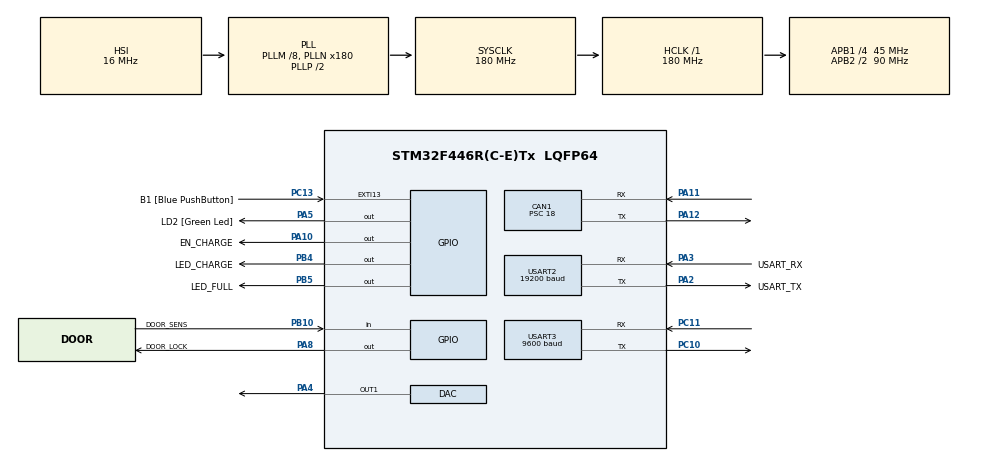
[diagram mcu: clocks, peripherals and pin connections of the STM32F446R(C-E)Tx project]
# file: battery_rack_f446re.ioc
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CAN1.BS1=CAN_BS1_2TQ
CAN1.BS2=CAN_BS2_2TQ
CAN1.CalculateBaudRate=500000
CAN1.CalculateTimeBit=2000
CAN1.CalculateTimeQuantum=400.0
CAN1.Prescaler=18
CAN1.RFLM=DISABLE
Mcu.Family=STM32F4
Mcu.Name=STM32F446R(C-E)Tx
Mcu.Package=LQFP64
NVIC.CAN1_RX0_IRQn=true\:0\:0\:true\:false\:true\:true\:true\:true
NVIC.EXTI15_10_IRQn=true\:0\:0\:false\:false\:true\:true\:true\:true
NVIC.PriorityGroup=NVIC_PRIORITYGROUP_0
NVIC.TIM7_IRQn=true\:0\:0\:false\:false\:true\:true\:true\:true
NVIC.USART2_IRQn=true\:0\:0\:false\:false\:true\:true\:true\:true
NVIC.USART3_IRQn=true\:0\:0\:false\:false\:true\:true\:true\:true
PA10.GPIO_Label=EN_CHARGE
PA10.Signal=GPIO_Output
PA11.Mode=CAN_Activate
PA11.Signal=CAN1_RX
PA12.Mode=CAN_Activate
PA12.Signal=CAN1_TX
PA13.GPIO_Label=TMS
PA13.Mode=Serial_Wire
PA13.Signal=SYS_JTMS-SWDIO
PA14.GPIO_Label=TCK
PA14.Mode=Serial_Wire
PA14.Signal=SYS_JTCK-SWCLK
PA2.GPIO_Label=USART_TX
PA2.Mode=Asynchronous
PA2.Signal=USART2_TX
PA3.GPIO_Label=USART_RX
PA3.Mode=Asynchronous
PA3.Signal=USART2_RX
PA4.Signal=COMP_DAC1_group
PA5.GPIO_Label=LD2 [Green Led]
PA5.Signal=GPIO_Output
PA8.GPIO_Label=DOOR_LOCK
PA8.GPIO_PuPd=GPIO_PULLUP
PA8.Signal=GPIO_Output
PB10.GPIO_Label=DOOR_SENS
PB10.GPIO_PuPd=GPIO_PULLUP
PB10.Signal=GPIO_Input
PB3.GPIO_Label=SWO
PB3.Signal=SYS_JTDO-SWO
PB4.GPIO_Label=LED_CHARGE
PB4.Signal=GPIO_Output
PB5.GPIO_Label=LED_FULL
PB5.Signal=GPIO_Output
PC10.Mode=Asynchronous
PC10.Signal=USART3_TX
PC11.Mode=Asynchronous
PC11.Signal=USART3_RX
PC13.GPIO_Label=B1 [Blue PushButton]
PC13.GPIO_ModeDefaultEXTI=GPIO_MODE_IT_FALLING
PC13.Signal=GPXTI13
PC14-OSC32_IN.Mode=LSE-External-Oscillator
PC14-OSC32_IN.Signal=RCC_OSC32_IN
PC15-OSC32_OUT.Mode=LSE-External-Oscillator
PC15-OSC32_OUT.Signal=RCC_OSC32_OUT
PH0-OSC_IN.Mode=HSE-External-Oscillator
PH0-OSC_IN.Signal=RCC_OSC_IN
PH1-OSC_OUT.Mode=HSE-External-Oscillator
PH1-OSC_OUT.Signal=RCC_OSC_OUT
ProjectManager.HeapSize=0x200
ProjectManager.StackSize=0x400
ProjectManager.TargetToolchain=STM32CubeIDE
RCC.48MHZClocksFreq_Value=84000000
RCC.AHBFreq_Value=180000000
RCC.APB1CLKDivider=RCC_HCLK_DIV4
RCC.APB1Freq_Value=45000000
RCC.APB1TimFreq_Value=90000000
RCC.APB2CLKDivider=RCC_HCLK_DIV2
RCC.APB2Freq_Value=90000000
RCC.APB2TimFreq_Value=180000000
RCC.CortexFreq_Value=180000000
RCC.FLatency-AdvancedSettings=FLASH_LATENCY_5
RCC.HCLKFreq_Value=180000000
RCC.HSE_VALUE=8000000
RCC.HSI_VALUE=16000000
RCC.PLLM=8
RCC.PLLN=180
RCC.SYSCLKFreq_VALUE=180000000
RCC.SYSCLKSource=RCC_SYSCLKSOURCE_PLLCLK
RCC.USBFreq_Value=180000000
RCC.VCOOutputFreq_Value=360000000
SH.COMP_DAC1_group.0=DAC_OUT1,DAC_OUT1
TIM7.Period=50-1
TIM7.Prescaler=64-1
USART2.BaudRate=19200
USART2.VirtualMode=VM_ASYNC
USART3.BaudRate=9600
USART3.VirtualMode=VM_ASYNC
VP_TIM7_VS_ClockSourceINT.Mode=Enable_Timer
board=NUCLEO-F446RE

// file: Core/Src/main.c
/* USER CODE BEGIN Header */
/**
 ******************************************************************************
 *@file           : main.c
 *@brief          : Main program body
 ******************************************************************************
 *@attention
 *
 *Copyright (c) 2023 STMicroelectronics.
 *All rights reserved.
 *
 *This software is licensed under terms that can be found in the LICENSE file
 *in the root directory of this software component.
 *If no LICENSE file comes with this software, it is provided AS-IS.
 *
 ******************************************************************************
 */
/* USER CODE END Header */
#include "main.h"
#include "can.h"
#include "dac.h"
#include "tim.h"
#include "usart.h"
#include "gpio.h"

void SystemClock_Config(void);
/* USER CODE BEGIN PFP */
#include <stdio.h>
#include <string.h>
#include <stdbool.h>

#ifdef __GNUC__
#define PUTCHAR_PROTOTYPE int __io_putchar(int ch)
#else
#define PUTCHAR_PROTOTYPE int fputc(int ch, FILE *f)
#endif

PUTCHAR_PROTOTYPE
{
    HAL_UART_Transmit(&huart2, (uint8_t*) &ch, 1, HAL_MAX_DELAY);
    return ch;
}

/* USER CODE END PFP */

/* USER CODE BEGIN 0 */

#include <stdbool.h>

CAN_RxHeaderTypeDef RxHeader;
uint8_t RxData[8];

int battery_current, battery_voltage, battery_temperature, battery_capacity, battery_id1, battery_id2, cell_number, battery_percent, battery_voltage_cells_total;
uint16_t battcells[12];
uint8_t charge_status;
bool charging_flag = false;

float dac_charge_value = 80;

#define FULLCHARGE 25600
uint8_t battery_timeout = 0;

bool can_tx_error_flag = false;
bool acquired = false;

void enableBattery()
{
    CAN_TxHeaderTypeDef TxHeader;
    uint32_t TxMailbox;

    TxHeader.DLC = 8;
    TxHeader.IDE = CAN_ID_STD;
    TxHeader.RTR = CAN_RTR_DATA;
    TxHeader.TransmitGlobalTime = DISABLE;
    TxHeader.StdId = 0x456;
    uint8_t TxData[] = {0xAA, 0x01, 0x4E, 0x69, 0x44, 0x61, 0x59, 0x65};

    if (HAL_CAN_AddTxMessage(&hcan1, &TxHeader, TxData, &TxMailbox) != HAL_OK)
    {
        can_tx_error_flag = true;
        HAL_CAN_Stop(&hcan1);
        HAL_CAN_ResetError(&hcan1);
       	// HAL_CAN_MspDeInit(&hcan1);
       	// HAL_CAN_DeInit(&hcan1);
       	// HAL_CAN_MspInit(&hcan1);
        MX_CAN1_Init();
    }
    else can_tx_error_flag = false;
}

void HAL_GPIO_EXTI_Callback(uint16_t GPIO_Pin)
{
    if (GPIO_Pin == GPIO_PIN_13) {
        battery_id1 = 0;
        battery_id2 = 0;
        battery_current = 0;
        battery_voltage = 0;
        battery_capacity = 0;
        charge_status = 0;
        battery_temperature = 0;
        charging_flag = false;
        memset(battcells, 0, sizeof(battcells));
        enableBattery();
    }
}

void HAL_CAN_RxFifo0MsgPendingCallback(CAN_HandleTypeDef *hcan)
{
    HAL_CAN_GetRxMessage(hcan, CAN_RX_FIFO0, &RxHeader, RxData);

   	// printf("id: %ld | ", RxHeader.StdId);
   	// printf("data: %X %X %X %X %X %X %X %X\n", RxData[0], RxData[1], RxData[2], RxData[3], RxData[4], RxData[5], RxData[6], RxData[7]);

    if (RxHeader.StdId >= 0x200 && RxHeader.StdId <= 0x210)
    	acquired = true;
}

#include "../../modbus/mb.h"
#include "../../modbus/mbport.h"

enum
{
    HREG_BATTERY_ID1,
	HREG_BATTERY_ID2,
    HREG_BATTERY_CURRENT,
    HREG_BATTERY_VOLTAGE,
    HREG_BATTERY_CAPACITY,
	HREG_BATTERY_PERCENT,
    HREG_CHARGE_STATUS,
	HREG_BATTERY_TEMPERATURE,
    HREG_CELL_VOLTAGE_1,
    HREG_CELL_VOLTAGE_2,
    HREG_CELL_VOLTAGE_3,
    HREG_CELL_VOLTAGE_4,
    HREG_CELL_VOLTAGE_5,
    HREG_CELL_VOLTAGE_6,
    HREG_CELL_VOLTAGE_7,
    HREG_CELL_VOLTAGE_8,
    HREG_CELL_VOLTAGE_9,
    HREG_CELL_VOLTAGE_10,
    HREG_CELL_VOLTAGE_11,
    HREG_CELL_VOLTAGE_12,
    HREG_DOOR_STATUS,
    HREG_DOOR_OPEN,
	HREG_DAC_VALUE,
    HREG_FINAL_ENTRY
} holdingRegs_t;

#define REG_HOLDING_START 1
#define REG_HOLDING_NREGS HREG_FINAL_ENTRY
static USHORT usRegHoldingStart = REG_HOLDING_START;
static USHORT usRegHoldingBuf[REG_HOLDING_NREGS];

uint32_t millis()
{
    return HAL_GetTick();
}

int map(int x, int in_min, int in_max, int out_min, int out_max) {
    if (x < in_min) return out_min;
    if (x > in_max) return out_max;
    return (x - in_min) * (out_max - out_min + 1) / (in_max - in_min + 1) + out_min;
}

void parsing_can_data()
{
    if (RxHeader.StdId == 0x200)
    {
        battery_capacity = (RxData[0] << 8) | (RxData[1]);
        if (battery_capacity < FULLCHARGE) {
        	// charging_flag = true;
        }
        else {
        	// charging_flag = false;
        }
    }
    else if (RxHeader.StdId == 0x201)
    {
        battery_current = (RxData[0] << 8) | (RxData[1]);
        battery_voltage = ((RxData[4] << 8) | (RxData[5]));
    }
    else if (RxHeader.StdId == 0x202)
    {
        cell_number = RxData[0];
        charge_status = RxData[5];
        battcells[cell_number] = ((RxData[1] << 8) | (RxData[2]));
    }
    else if (RxHeader.StdId == 0x209)
    {
        battery_temperature = ((RxData[1] << 8) | (RxData[2]));
    }
    else if (RxHeader.StdId == 0x210)
    {
       	// enableBattery();
    	// battery_id = ((RxData[0] << 24) | (RxData[1] << 16) | (RxData[2] << 8) | (RxData[3]));
        battery_id1 = ((RxData[0] << 8) | (RxData[1]));
    	battery_id2 = ((RxData[2] << 8) | (RxData[3]));
    }
}

int update_dac_ticks;
int update_dac = 0;

void dac_compare() {
    if(millis() - update_dac_ticks >= 100) {
        update_dac_ticks = millis();
        if(update_dac < dac_charge_value) {
            update_dac += 1;
            HAL_DAC_SetValue(&hdac, DAC_CHANNEL_1, DAC_ALIGN_12B_R, ((update_dac * 0.01) * 4096.0) / 3.3);
        } else if (update_dac >= dac_charge_value) {
            update_dac = dac_charge_value;
            HAL_DAC_SetValue(&hdac, DAC_CHANNEL_1, DAC_ALIGN_12B_R, ((dac_charge_value * 0.01) * 4096.0) / 3.3);
        }
    }
}

/* USER CODE END 0 */

int main(void)
{

  /* MCU Configuration--------------------------------------------------------*/

  /* Reset of all peripherals, Initializes the Flash interface and the Systick. */
  HAL_Init();

  /* Configure the system clock */
  SystemClock_Config();

  /* Initialize all configured peripherals */
  MX_GPIO_Init();
  MX_USART2_UART_Init();
  MX_CAN1_Init();
  MX_DAC_Init();
  MX_TIM7_Init();
  MX_USART3_UART_Init();
  /* USER CODE BEGIN 2 */

   	// // init
   	// printf("%s\n", "can start");

   	// close door
    HAL_GPIO_WritePin(DOOR_LOCK_GPIO_Port, DOOR_LOCK_Pin, 0);

    HAL_DAC_Start(&hdac, DAC_CHANNEL_1);

    HAL_GPIO_WritePin(EN_CHARGE_GPIO_Port, EN_CHARGE_Pin, 0);
    HAL_DAC_SetValue(&hdac, DAC_CHANNEL_1, DAC_ALIGN_12B_R, 0);

    eMBInit(MB_RTU, 11, 3, huart2.Init.BaudRate, MB_PAR_NONE);
    eMBEnable();

    uint32_t ticks, ticks2;
  /* USER CODE END 2 */

  /* Infinite loop */
  /* USER CODE BEGIN WHILE */
    while (1)
    {

        if (millis() - ticks2 >= 50) {
            ticks2 = millis();
           	// printf("%d %d %d %d %d %d\n", battery_id, battery_current,  battery_voltage, battery_capacity, charge_status, cell_voltage);

            if (HAL_GPIO_ReadPin(DOOR_SENS_GPIO_Port, DOOR_SENS_Pin) == 1 && battery_percent < 100) {
            	HAL_GPIO_WritePin(EN_CHARGE_GPIO_Port, EN_CHARGE_Pin, 1);
                if (charging_flag) dac_compare();
            } else {
            	HAL_GPIO_WritePin(EN_CHARGE_GPIO_Port, EN_CHARGE_Pin, 0);
            	if (!charging_flag) {
                    HAL_DAC_SetValue(&hdac, DAC_CHANNEL_1, DAC_ALIGN_12B_R, 0);
                    update_dac = 0;
                }
            }

            if (battery_percent >= 100 && battery_timeout < 10) {
                charging_flag = false;
                HAL_GPIO_WritePin(LED_CHARGE_GPIO_Port, LED_CHARGE_Pin, 0);
                HAL_GPIO_WritePin(LED_FULL_GPIO_Port, LED_FULL_Pin, 1);
            } else if (battery_percent > 98 && battery_timeout < 10) {
            	HAL_GPIO_WritePin(LED_CHARGE_GPIO_Port, LED_CHARGE_Pin, 0);
            	HAL_GPIO_WritePin(LED_FULL_GPIO_Port, LED_FULL_Pin, 1);
            } else if (battery_percent <= 98 && battery_timeout < 10) {
                charging_flag = true;
                HAL_GPIO_WritePin(LED_CHARGE_GPIO_Port, LED_CHARGE_Pin, 1);
                HAL_GPIO_WritePin(LED_FULL_GPIO_Port, LED_FULL_Pin, 0);
            } else {
            	update_dac = 0;
                HAL_GPIO_WritePin(LED_CHARGE_GPIO_Port, LED_CHARGE_Pin, 0);
                HAL_GPIO_WritePin(LED_FULL_GPIO_Port, LED_FULL_Pin, 0);
            }

        }

        if (acquired) {
            acquired = false;
            battery_timeout = 0;
            HAL_GPIO_TogglePin(GPIOA, GPIO_PIN_5);
            parsing_can_data();
            battery_voltage_cells_total = (battcells[0] + battcells[1] + battcells[2] + battcells[3] + battcells[4] + battcells[5] + battcells[6] + battcells[7] + battcells[8] + battcells[9] + battcells[10] + battcells[11]);
            battery_percent = map(battery_voltage_cells_total, 35600, 49600, 0, 100);
        }

        if (millis() - ticks >= (can_tx_error_flag ? 100 : 500)) {
            ticks = millis();
            enableBattery();
            battery_timeout++;
            if (battery_timeout >= 10) {
                battery_timeout = 10;
                battery_id1 = 0;
                battery_id2 = 0;
                battery_current = 0;
                battery_voltage = 0;
                battery_capacity = 0;
                charge_status = 0;
                battery_temperature = 0;
                battery_voltage_cells_total = 0;
                battery_percent = 0;
                charging_flag = false;
                memset(battcells, 0, sizeof(battcells));
            }
        }

        eMBPoll();
    /* USER CODE END WHILE */

    }
}

void SystemClock_Config(void)
{
  RCC_OscInitTypeDef RCC_OscInitStruct = {0};
  RCC_ClkInitTypeDef RCC_ClkInitStruct = {0};

  /** Configure the main internal regulator output voltage
  */
  __HAL_RCC_PWR_CLK_ENABLE();
  __HAL_PWR_VOLTAGESCALING_CONFIG(PWR_REGULATOR_VOLTAGE_SCALE1);

  /** Initializes the RCC Oscillators according to the specified parameters
  * in the RCC_OscInitTypeDef structure.
  */
  RCC_OscInitStruct.OscillatorType = RCC_OSCILLATORTYPE_HSI;
  RCC_OscInitStruct.HSIState = RCC_HSI_ON;
  RCC_OscInitStruct.HSICalibrationValue = RCC_HSICALIBRATION_DEFAULT;
  RCC_OscInitStruct.PLL.PLLState = RCC_PLL_ON;
  RCC_OscInitStruct.PLL.PLLSource = RCC_PLLSOURCE_HSI;
  RCC_OscInitStruct.PLL.PLLM = 8;
  RCC_OscInitStruct.PLL.PLLN = 180;
  RCC_OscInitStruct.PLL.PLLP = RCC_PLLP_DIV2;
  RCC_OscInitStruct.PLL.PLLQ = 2;
  RCC_OscInitStruct.PLL.PLLR = 2;
  if (HAL_RCC_OscConfig(&RCC_OscInitStruct) != HAL_OK)
  {
    Error_Handler();
  }

  /** Activate the Over-Drive mode
  */
  if (HAL_PWREx_EnableOverDrive() != HAL_OK)
  {
    Error_Handler();
  }

  /** Initializes the CPU, AHB and APB buses clocks
  */
  RCC_ClkInitStruct.ClockType = RCC_CLOCKTYPE_HCLK|RCC_CLOCKTYPE_SYSCLK
                              |RCC_CLOCKTYPE_PCLK1|RCC_CLOCKTYPE_PCLK2;
  RCC_ClkInitStruct.SYSCLKSource = RCC_SYSCLKSOURCE_PLLCLK;
  RCC_ClkInitStruct.AHBCLKDivider = RCC_SYSCLK_DIV1;
  RCC_ClkInitStruct.APB1CLKDivider = RCC_HCLK_DIV4;
  RCC_ClkInitStruct.APB2CLKDivider = RCC_HCLK_DIV2;

  if (HAL_RCC_ClockConfig(&RCC_ClkInitStruct, FLASH_LATENCY_5) != HAL_OK)
  {
    Error_Handler();
  }
}

/* USER CODE BEGIN 4 */
/**
 *@brief Fetching modbus holding register data.
 *
 *@param iRegIndex
 *@return uint8_t
 */
uint8_t fetchHoldingRegsData(int iRegIndex)
{
    uint8_t numUs = 1;
    switch (iRegIndex)
    {
        case HREG_BATTERY_ID1:
            usRegHoldingBuf[HREG_BATTERY_ID1] = battery_id1;
            break;

        case HREG_BATTERY_ID2:
            usRegHoldingBuf[HREG_BATTERY_ID2] = battery_id2;
            break;

        case HREG_BATTERY_CURRENT:
            usRegHoldingBuf[HREG_BATTERY_CURRENT] = battery_current;
            break;

        case HREG_BATTERY_VOLTAGE:
            usRegHoldingBuf[HREG_BATTERY_VOLTAGE] = battery_voltage_cells_total;
            break;

        case HREG_BATTERY_CAPACITY:
            usRegHoldingBuf[HREG_BATTERY_CAPACITY] = battery_capacity;
            break;

        case HREG_BATTERY_PERCENT:
             usRegHoldingBuf[HREG_BATTERY_PERCENT] = battery_percent;
             break;

        case HREG_CHARGE_STATUS:
            usRegHoldingBuf[HREG_CHARGE_STATUS] = charge_status;
            break;

        case HREG_BATTERY_TEMPERATURE:
        	usRegHoldingBuf[HREG_BATTERY_TEMPERATURE] = battery_temperature;
        	break;

        case HREG_CELL_VOLTAGE_1:
            usRegHoldingBuf[HREG_CELL_VOLTAGE_1] = battcells[0];
            break;

        case HREG_CELL_VOLTAGE_2:
            usRegHoldingBuf[HREG_CELL_VOLTAGE_2] = battcells[1];
            break;

        case HREG_CELL_VOLTAGE_3:
            usRegHoldingBuf[HREG_CELL_VOLTAGE_3] = battcells[2];
            break;

        case HREG_CELL_VOLTAGE_4:
            usRegHoldingBuf[HREG_CELL_VOLTAGE_4] = battcells[3];
            break;

        case HREG_CELL_VOLTAGE_5:
            usRegHoldingBuf[HREG_CELL_VOLTAGE_5] = battcells[4];
            break;

        case HREG_CELL_VOLTAGE_6:
            usRegHoldingBuf[HREG_CELL_VOLTAGE_6] = battcells[5];
            break;

        case HREG_CELL_VOLTAGE_7:
            usRegHoldingBuf[HREG_CELL_VOLTAGE_7] = battcells[6];
            break;

        case HREG_CELL_VOLTAGE_8:
            usRegHoldingBuf[HREG_CELL_VOLTAGE_8] = battcells[7];
            break;

        case HREG_CELL_VOLTAGE_9:
            usRegHoldingBuf[HREG_CELL_VOLTAGE_9] = battcells[8];
            break;

        case HREG_CELL_VOLTAGE_10:
            usRegHoldingBuf[HREG_CELL_VOLTAGE_10] = battcells[9];
            break;

        case HREG_CELL_VOLTAGE_11:
            usRegHoldingBuf[HREG_CELL_VOLTAGE_11] = battcells[10];
            break;

        case HREG_CELL_VOLTAGE_12:
            usRegHoldingBuf[HREG_CELL_VOLTAGE_12] = battcells[11];
            break;

        case HREG_DOOR_STATUS:
            usRegHoldingBuf[HREG_DOOR_STATUS] = !HAL_GPIO_ReadPin(DOOR_SENS_GPIO_Port, DOOR_SENS_Pin);
            break;

        case HREG_DOOR_OPEN:
//        	if(HAL_GPIO_ReadPin(DOOR_SENS_GPIO_Port, DOOR_SENS_Pin) == 1)
//        		usRegHoldingBuf[HREG_DOOR_OPEN] = 0;
            break;

        case HREG_DAC_VALUE:
        	usRegHoldingBuf[HREG_DAC_VALUE] = dac_charge_value;
        	break;

        default:
            numUs = 0;
            break;
    }

    return numUs;
}

/**
 *@brief Writing modbus holding registers.
 *
 *@param iRegIndex
 *@param tempReg
 */
void writeHoldingRegs(int iRegIndex, uint16_t tempReg)
{
    switch (iRegIndex)
    {
        case HREG_DOOR_OPEN:
            if (tempReg > 1) break;
            if (tempReg == 1)
            {
                usRegHoldingBuf[HREG_DOOR_OPEN] = 1;
                HAL_GPIO_WritePin(DOOR_LOCK_GPIO_Port, DOOR_LOCK_Pin, 1);
                HAL_Delay(10);
                HAL_GPIO_WritePin(DOOR_LOCK_GPIO_Port, DOOR_LOCK_Pin, 0);
            }
            break;

        case HREG_DAC_VALUE:
        	usRegHoldingBuf[HREG_DAC_VALUE] = tempReg;
        	dac_charge_value = tempReg;
            break;

        default:
           	// usRegHoldingBuf[iRegIndex] = tempReg;
            break;
    }
}

eMBErrorCode eMBRegHoldingCB(UCHAR *pucRegBuffer, USHORT usAddress, USHORT usNRegs, eMBRegisterMode eMode)
{
    eMBErrorCode eStatus = MB_ENOERR;
    int iRegIndex;

    if (eMode == MB_REG_READ)
    {
        if ((usAddress >= REG_HOLDING_START) &&
            (usAddress + usNRegs <= REG_HOLDING_START + REG_HOLDING_NREGS))
        {
            iRegIndex = (int)(usAddress - usRegHoldingStart);
            while (usNRegs > 0)
            {
                uint8_t numUs = fetchHoldingRegsData(iRegIndex);
                if (numUs < 1)
                {
                    return MB_ENORES;
                }

                for (size_t i = 0; i < numUs; ++i)
                {
                    if (usNRegs > 0)
                    {
                        *pucRegBuffer++ = (unsigned char)(usRegHoldingBuf[iRegIndex] >> 8);
                        *pucRegBuffer++ = (unsigned char)(usRegHoldingBuf[iRegIndex] &0xFF);
                        iRegIndex++;
                        usNRegs--;
                    }
                    else
                    {
                        return MB_ENORES;
                    }
                }
            }
        }
        else
        {
            eStatus = MB_ENOREG;
        }
    }

    if (eMode == MB_REG_WRITE)
    {
        if ((usAddress >= REG_HOLDING_START) && (usAddress + usNRegs <= REG_HOLDING_START + REG_HOLDING_NREGS))
        {
            iRegIndex = (int)(usAddress - usRegHoldingStart);

            while (usNRegs > 0)
            {
                writeHoldingRegs(iRegIndex, (USHORT)(((unsigned int) *pucRegBuffer << 8) | ((unsigned int) *(pucRegBuffer + 1))));
                pucRegBuffer += 2;
                usNRegs--;
                iRegIndex++;
            }
        }
        else eStatus = MB_ENOREG;
    }

    return eStatus;
}

eMBErrorCode eMBRegInputCB(UCHAR *pucRegBuffer, USHORT usAddress, USHORT usNRegs)
{
    return MB_ENOREG;
}

eMBErrorCode eMBRegCoilsCB(UCHAR *pucRegBuffer, USHORT usAddress, USHORT usNCoils, eMBRegisterMode eMode)
{
    return MB_ENOREG;
}

eMBErrorCode eMBRegDiscreteCB(UCHAR *pucRegBuffer, USHORT usAddress, USHORT usNDiscrete)
{
    return MB_ENOREG;
}

/* USER CODE END 4 */

void Error_Handler(void)
{
  /* USER CODE BEGIN Error_Handler_Debug */
    /*User can add his own implementation to report the HAL error return state */
    __disable_irq();
    while (1) {}

  /* USER CODE END Error_Handler_Debug */
}

#ifdef  USE_FULL_ASSERT
/**
  * @brief  Reports the name of the source file and the source line number
  *         where the assert_param error has occurred.
  * @param  file: pointer to the source file name
  * @param  line: assert_param error line source number
  * @retval None
  */
void assert_failed(uint8_t *file, uint32_t line)
{
  /* USER CODE BEGIN 6 */
    /*User can add his own implementation to report the file name and line number,
       ex: printf("Wrong parameters value: file %s on line %d\r\n", file, line) */
  /* USER CODE END 6 */
}
#endif /* USE_FULL_ASSERT */
